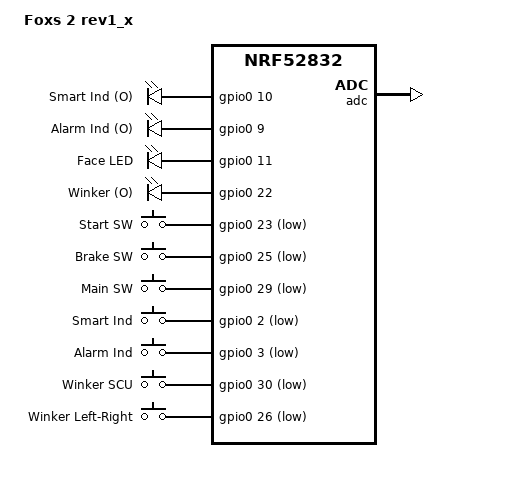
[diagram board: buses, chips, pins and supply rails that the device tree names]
// Copyright (c) 2023 Nordic Semiconductor ASA
// SPDX-License-Identifier: Apache-2.0

/dts-v1/;
#include <nordic/nrf52832_qfaa.dtsi>

/ {
	model = "Foxs 2 rev1_x";
	compatible = "nordic,foxs-2-rev1-x";

	chosen {
		zephyr,sram = &sram0;
		zephyr,flash = &flash0;
		zephyr,code-partition = &slot0_partition;
	};

	leds {
		compatible = "gpio-leds";
		led0: smart_ind {
			gpios = <&gpio0 10 GPIO_ACTIVE_HIGH>;
			label = "Smart Ind (O)";
		};
		led1: alarm_ind {
			gpios = <&gpio0 9 GPIO_ACTIVE_HIGH>;
			label = "Alarm Ind (O)";
		};
		led2: face_led {
			gpios = <&gpio0 11 GPIO_ACTIVE_HIGH>;
			label = "Face LED";
		};
		led3: winker {
			gpios = <&gpio0 22 GPIO_ACTIVE_HIGH>;
			label = "Winker (O)";
		};
	};

	buttons {
		compatible = "gpio-keys";
		button0: start {
			gpios = <&gpio0 23 (GPIO_PULL_UP | GPIO_ACTIVE_LOW)>;
			label = "Start SW";
		};
		button1: brake {
			gpios = <&gpio0 25 (GPIO_PULL_UP | GPIO_ACTIVE_LOW)>;
			label = "Brake SW";
		};
		button2: main {
			gpios = <&gpio0 29 (GPIO_PULL_UP | GPIO_ACTIVE_LOW)>;
			label = "Main SW";
		};

		button3: smart_ind {
			gpios = <&gpio0 2 (GPIO_PULL_UP | GPIO_ACTIVE_LOW)>;
			label = "Smart Ind";
		};
		button4: alarm_ind {
			gpios = <&gpio0 3 (GPIO_PULL_UP | GPIO_ACTIVE_LOW)>;
			label = "Alarm Ind";
		};
		button5: winker {
			gpios = <&gpio0 30 (GPIO_PULL_UP | GPIO_ACTIVE_LOW)>;
			label = "Winker SCU";
		};
		button6: winker_lr {
			gpios = <&gpio0 26 (GPIO_PULL_UP | GPIO_ACTIVE_LOW)>;
			label = "Winker Left-Right";
		};
	};


	/* These aliases are provided for compatibility with samples */
	aliases {
		led0 = &led0;
		led1 = &led1;
		led2 = &led2;
		led3 = &led3;
		sw0 = &button0;
		sw1 = &button1;
		sw2 = &button2;
		sw3 = &button3;
		bootloader-led0 = &led0;
		mcuboot-button0 = &button0;
		mcuboot-led0 = &led0;
		watchdog0 = &wdt0;
	};
};

&adc {
	status = "okay";
};

&gpiote {
	status = "okay";
};

&gpio0 {
	status = "okay";
};

// arduino_i2c: &i2c0 {
// 	compatible = "nordic,nrf-twi";
// 	status = "okay";
// 	pinctrl-0 = <&i2c0_default>;
// 	pinctrl-1 = <&i2c0_sleep>;
// 	pinctrl-names = "default", "sleep";
// };

// &i2c1 {
// 	compatible = "nordic,nrf-twi";
// 	/* Cannot be used together with spi1. */
// 	/* status = "okay"; */
// 	pinctrl-0 = <&i2c1_default>;
// 	pinctrl-1 = <&i2c1_sleep>;
// 	pinctrl-names = "default", "sleep";
// };

// &pwm0 {
// 	status = "okay";
// 	pinctrl-0 = <&pwm0_default>;
// 	pinctrl-1 = <&pwm0_sleep>;
// 	pinctrl-names = "default", "sleep";
// };

&flash0 {

	partitions {
		compatible = "fixed-partitions";
		#address-cells = <1>;
		#size-cells = <1>;

		boot_partition: partition@0 {
			label = "mcuboot";
			reg = <0x00000000 0xc000>;
		};
		slot0_partition: partition@c000 {
			label = "image-0";
			reg = <0x0000C000 0x32000>;
		};
		slot1_partition: partition@3e000 {
			label = "image-1";
			reg = <0x0003E000 0x32000>;
		};
		scratch_partition: partition@70000 {
			label = "image-scratch";
			reg = <0x00070000 0xa000>;
		};
		storage_partition: partition@7a000 {
			label = "storage";
			reg = <0x0007a000 0x00006000>;
		};
	};
};
